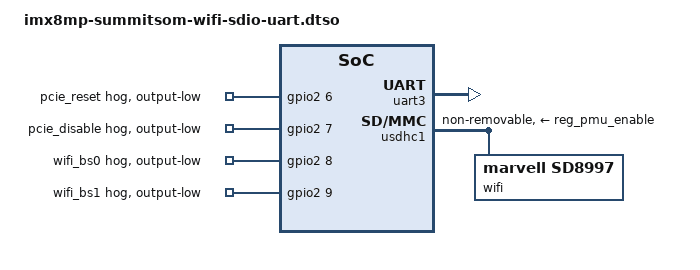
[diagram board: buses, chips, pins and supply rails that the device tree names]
// SPDX-License-Identifier: LicenseRef-Ezurio-Clause
/*
 * Copyright 2021 Ezurio
 */

/dts-v1/;
/plugin/;

#include <dt-bindings/gpio/gpio.h>
#include <dt-bindings/interrupt-controller/irq.h>

#include "imx8mp-pinfunc.h"

&gpio2 {
	pinctrl-names = "default";
	pinctrl-0 = <&pinctrl_wifibs>, <&pinctrl_pcie_disable>,
		<&pinctrl_pcie_reset>;

	pcie-reset {
		gpio-hog;
		gpios = <6 GPIO_ACTIVE_HIGH>;
		output-low;
		line-name = "pcie_reset";
	};

	pcie-disable {
		gpio-hog;
		gpios = <7 GPIO_ACTIVE_HIGH>;
		output-low;
		line-name = "pcie_disable";
	};

	wifi_bs0: wifi-bs0 {
		gpio-hog;
		gpios = <8 GPIO_ACTIVE_HIGH>;
		output-low;
		line-name = "wifi_bs0";
	};

	wifi_bs1: wifi-bs1 {
		gpio-hog;
		gpios = <9 GPIO_ACTIVE_HIGH>;
		output-low;
		line-name = "wifi_bs1";
	};
};

&uart3 {
	/* BT */
 	status = "okay";
};

&usdhc1 {
	status = "okay";

	vmmc-supply = <&reg_pmu_enable>;

	non-removable;
	keep-power-in-suspend;

	wifi: wifi {
		compatible = "marvell,sd8997";
		fwtype = "sdio-uart";
		//interrupts-extended = <&gpio3 14 GPIO_ACTIVE_LOW>;
		//reset-gpios = <&gpio2 10 GPIO_ACTIVE_HIGH>;
		//remove-power-on-link-down;
	};
};

&wifi_wake {
	interrupts-extended = <&gpio3 14 IRQ_TYPE_EDGE_FALLING>;
	//gpios = <&gpio3 14 GPIO_ACTIVE_LOW>;
};
